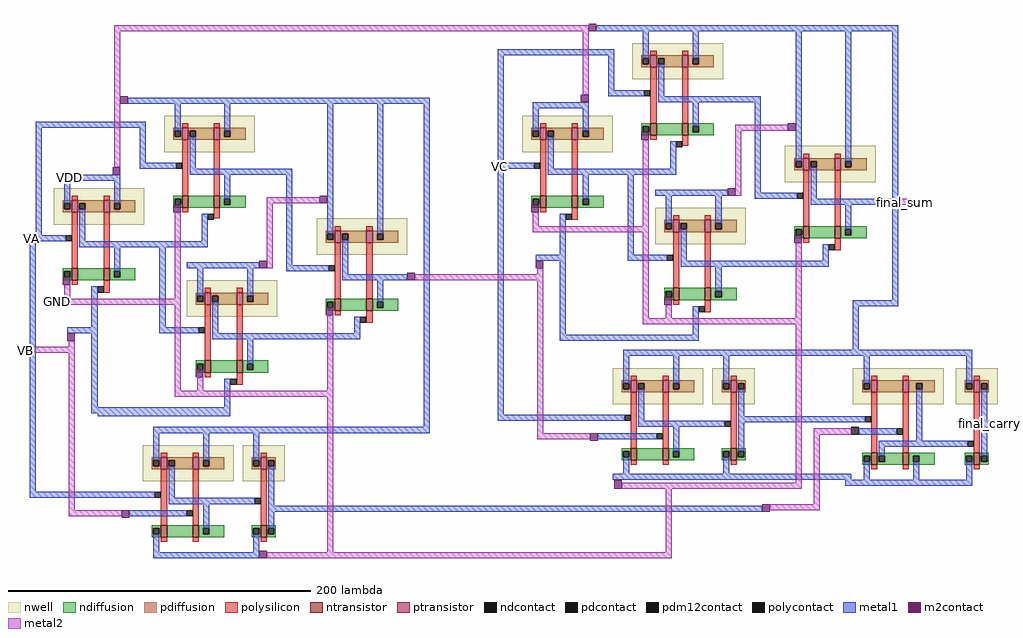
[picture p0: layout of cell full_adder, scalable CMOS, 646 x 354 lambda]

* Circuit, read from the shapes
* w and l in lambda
.subckt full_adder GND VA VB VC VDD final_carry final_sum
M1 n1 VA GND VSUBS nfet w=8 l=4
M2 n2 VB n1 VSUBS nfet w=8 l=4
M3 n3 VA GND VSUBS nfet w=8 l=4
M4 n4 VA GND VSUBS nfet w=8 l=4
M5 n5 VB n3 VSUBS nfet w=8 l=4
M6 n6 n2 GND VSUBS nfet w=8 l=4
M7 n7 n2 n4 VSUBS nfet w=8 l=4
M8 n8 VB n6 VSUBS nfet w=8 l=4
M9 n9 n5 GND VSUBS nfet w=8 l=4
M10 n10 n7 GND VSUBS nfet w=8 l=4
M11 n11 n8 n10 VSUBS nfet w=8 l=4
M12 n12 VC GND VSUBS nfet w=8 l=4
M13 n13 n11 n12 VSUBS nfet w=8 l=4
M14 n14 VC GND VSUBS nfet w=8 l=4
M15 n15 VC GND VSUBS nfet w=8 l=4
M16 n16 n11 n14 VSUBS nfet w=8 l=4
M17 n17 n13 GND VSUBS nfet w=8 l=4
M18 n18 n13 n15 VSUBS nfet w=8 l=4
M19 n19 n11 n17 VSUBS nfet w=8 l=4
M20 n20 n16 GND VSUBS nfet w=8 l=4
M21 n21 n18 GND VSUBS nfet w=8 l=4
M22 final_sum n19 n21 VSUBS nfet w=8 l=4
M23 n22 n20 GND VSUBS nfet w=8 l=4
M24 GND n9 n22 VSUBS nfet w=8 l=4
M25 final_carry n22 GND VSUBS nfet w=8 l=4
M26 n2 VA VDD n23 pfet w=8 l=4
M27 VDD VB n2 n23 pfet w=8 l=4
M28 n5 VA VDD n24 pfet w=8 l=4
M29 n7 VA VDD n25 pfet w=8 l=4
M30 VDD VB n5 n24 pfet w=8 l=4
M31 n8 n2 VDD n26 pfet w=8 l=4
M32 VDD n2 n7 n25 pfet w=8 l=4
M33 VDD VB n8 n26 pfet w=8 l=4
M34 n9 n5 VDD n27 pfet w=8 l=4
M35 n11 n7 VDD n28 pfet w=8 l=4
M36 VDD n8 n11 n28 pfet w=8 l=4
M37 n13 VC VDD n29 pfet w=8 l=4
M38 VDD n11 n13 n29 pfet w=8 l=4
M39 n16 VC VDD n30 pfet w=8 l=4
M40 n18 VC VDD n31 pfet w=8 l=4
M41 VDD n11 n16 n30 pfet w=8 l=4
M42 n19 n13 VDD n32 pfet w=8 l=4
M43 VDD n13 n18 n31 pfet w=8 l=4
M44 VDD n11 n19 n32 pfet w=8 l=4
M45 n20 n16 VDD n33 pfet w=8 l=4
M46 final_sum n18 VDD n34 pfet w=8 l=4
M47 VDD n19 final_sum n34 pfet w=8 l=4
M48 n35 n20 VDD n36 pfet w=8 l=4
M49 n22 n9 n35 n36 pfet w=8 l=4
M50 final_carry n22 VDD n37 pfet w=8 l=4
.ends

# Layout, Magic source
magic
tech scmos
<< nwell >>
rect 381 98 441 122
rect 71 50 131 74
rect 308 50 368 74
rect 482 30 542 54
rect -2 2 58 26
rect 172 -18 232 6
rect 396 -11 456 13
rect 86 -59 146 -35
rect 368 -117 428 -93
rect 434 -117 462 -93
rect 527 -117 587 -93
rect 595 -117 623 -93
rect 57 -168 117 -144
rect 123 -168 151 -144
<< ntransistor >>
rect 393 61 397 69
rect 414 61 418 69
rect 83 13 87 21
rect 104 13 108 21
rect 320 13 324 21
rect 341 13 345 21
rect 10 -35 14 -27
rect 31 -35 35 -27
rect 494 -7 498 1
rect 515 -7 519 1
rect 184 -55 188 -47
rect 205 -55 209 -47
rect 408 -48 412 -40
rect 429 -48 433 -40
rect 98 -96 102 -88
rect 119 -96 123 -88
rect 380 -154 384 -146
rect 401 -154 405 -146
rect 446 -154 450 -146
rect 539 -157 543 -149
rect 560 -157 564 -149
rect 607 -157 611 -149
rect 69 -205 73 -197
rect 90 -205 94 -197
rect 135 -205 139 -197
<< ptransistor >>
rect 393 106 397 114
rect 414 106 418 114
rect 83 58 87 66
rect 104 58 108 66
rect 320 58 324 66
rect 341 58 345 66
rect 494 38 498 46
rect 515 38 519 46
rect 10 10 14 18
rect 31 10 35 18
rect 184 -10 188 -2
rect 205 -10 209 -2
rect 408 -3 412 5
rect 429 -3 433 5
rect 98 -51 102 -43
rect 119 -51 123 -43
rect 380 -109 384 -101
rect 401 -109 405 -101
rect 446 -109 450 -101
rect 539 -109 543 -101
rect 560 -109 564 -101
rect 607 -109 611 -101
rect 69 -160 73 -152
rect 90 -160 94 -152
rect 135 -160 139 -152
<< ndiffusion >>
rect 387 67 393 69
rect 387 63 388 67
rect 392 63 393 67
rect 387 61 393 63
rect 397 61 414 69
rect 418 67 435 69
rect 418 63 421 67
rect 425 63 435 67
rect 418 61 435 63
rect 77 19 83 21
rect 77 15 78 19
rect 82 15 83 19
rect 77 13 83 15
rect 87 13 104 21
rect 108 19 125 21
rect 108 15 111 19
rect 115 15 125 19
rect 108 13 125 15
rect 314 19 320 21
rect 314 15 315 19
rect 319 15 320 19
rect 314 13 320 15
rect 324 13 341 21
rect 345 19 362 21
rect 345 15 348 19
rect 352 15 362 19
rect 345 13 362 15
rect 488 -1 494 1
rect 4 -29 10 -27
rect 4 -33 5 -29
rect 9 -33 10 -29
rect 4 -35 10 -33
rect 14 -35 31 -27
rect 35 -29 52 -27
rect 35 -33 38 -29
rect 42 -33 52 -29
rect 35 -35 52 -33
rect 488 -5 489 -1
rect 493 -5 494 -1
rect 488 -7 494 -5
rect 498 -7 515 1
rect 519 -1 536 1
rect 519 -5 522 -1
rect 526 -5 536 -1
rect 519 -7 536 -5
rect 402 -42 408 -40
rect 402 -46 403 -42
rect 407 -46 408 -42
rect 178 -49 184 -47
rect 178 -53 179 -49
rect 183 -53 184 -49
rect 178 -55 184 -53
rect 188 -55 205 -47
rect 209 -49 226 -47
rect 402 -48 408 -46
rect 412 -48 429 -40
rect 433 -42 450 -40
rect 433 -46 436 -42
rect 440 -46 450 -42
rect 433 -48 450 -46
rect 209 -53 212 -49
rect 216 -53 226 -49
rect 209 -55 226 -53
rect 92 -90 98 -88
rect 92 -94 93 -90
rect 97 -94 98 -90
rect 92 -96 98 -94
rect 102 -96 119 -88
rect 123 -90 140 -88
rect 123 -94 126 -90
rect 130 -94 140 -90
rect 123 -96 140 -94
rect 374 -148 380 -146
rect 374 -152 375 -148
rect 379 -152 380 -148
rect 374 -154 380 -152
rect 384 -154 401 -146
rect 405 -148 422 -146
rect 405 -152 408 -148
rect 412 -152 422 -148
rect 405 -154 422 -152
rect 440 -148 446 -146
rect 440 -152 441 -148
rect 445 -152 446 -148
rect 440 -154 446 -152
rect 450 -148 456 -146
rect 450 -152 451 -148
rect 455 -152 456 -148
rect 450 -154 456 -152
rect 533 -151 539 -149
rect 533 -155 534 -151
rect 538 -155 539 -151
rect 533 -157 539 -155
rect 543 -151 560 -149
rect 543 -155 544 -151
rect 548 -155 560 -151
rect 543 -157 560 -155
rect 564 -151 581 -149
rect 564 -155 567 -151
rect 571 -155 581 -151
rect 564 -157 581 -155
rect 601 -151 607 -149
rect 601 -155 602 -151
rect 606 -155 607 -151
rect 601 -157 607 -155
rect 611 -151 617 -149
rect 611 -155 612 -151
rect 616 -155 617 -151
rect 611 -157 617 -155
rect 63 -199 69 -197
rect 63 -203 64 -199
rect 68 -203 69 -199
rect 63 -205 69 -203
rect 73 -205 90 -197
rect 94 -199 111 -197
rect 94 -203 97 -199
rect 101 -203 111 -199
rect 94 -205 111 -203
rect 129 -199 135 -197
rect 129 -203 130 -199
rect 134 -203 135 -199
rect 129 -205 135 -203
rect 139 -199 145 -197
rect 139 -203 140 -199
rect 144 -203 145 -199
rect 139 -205 145 -203
<< pdiffusion >>
rect 387 112 393 114
rect 387 108 388 112
rect 392 108 393 112
rect 387 106 393 108
rect 397 112 414 114
rect 397 108 398 112
rect 402 108 414 112
rect 397 106 414 108
rect 418 112 435 114
rect 418 108 421 112
rect 425 108 435 112
rect 418 106 435 108
rect 77 64 83 66
rect 77 60 78 64
rect 82 60 83 64
rect 77 58 83 60
rect 87 64 104 66
rect 87 60 88 64
rect 92 60 104 64
rect 87 58 104 60
rect 108 64 125 66
rect 108 60 111 64
rect 115 60 125 64
rect 108 58 125 60
rect 314 64 320 66
rect 314 60 315 64
rect 319 60 320 64
rect 314 58 320 60
rect 324 64 341 66
rect 324 60 325 64
rect 329 60 341 64
rect 324 58 341 60
rect 345 64 362 66
rect 345 60 348 64
rect 352 60 362 64
rect 345 58 362 60
rect 488 44 494 46
rect 488 40 489 44
rect 493 40 494 44
rect 488 38 494 40
rect 498 44 515 46
rect 498 40 499 44
rect 503 40 515 44
rect 498 38 515 40
rect 519 44 536 46
rect 519 40 522 44
rect 526 40 536 44
rect 519 38 536 40
rect 4 16 10 18
rect 4 12 5 16
rect 9 12 10 16
rect 4 10 10 12
rect 14 16 31 18
rect 14 12 15 16
rect 19 12 31 16
rect 14 10 31 12
rect 35 16 52 18
rect 35 12 38 16
rect 42 12 52 16
rect 35 10 52 12
rect 402 3 408 5
rect 402 -1 403 3
rect 407 -1 408 3
rect 178 -4 184 -2
rect 178 -8 179 -4
rect 183 -8 184 -4
rect 178 -10 184 -8
rect 188 -4 205 -2
rect 188 -8 189 -4
rect 193 -8 205 -4
rect 188 -10 205 -8
rect 209 -4 226 -2
rect 402 -3 408 -1
rect 412 3 429 5
rect 412 -1 413 3
rect 417 -1 429 3
rect 412 -3 429 -1
rect 433 3 450 5
rect 433 -1 436 3
rect 440 -1 450 3
rect 433 -3 450 -1
rect 209 -8 212 -4
rect 216 -8 226 -4
rect 209 -10 226 -8
rect 92 -45 98 -43
rect 92 -49 93 -45
rect 97 -49 98 -45
rect 92 -51 98 -49
rect 102 -45 119 -43
rect 102 -49 103 -45
rect 107 -49 119 -45
rect 102 -51 119 -49
rect 123 -45 140 -43
rect 123 -49 126 -45
rect 130 -49 140 -45
rect 123 -51 140 -49
rect 374 -103 380 -101
rect 374 -107 375 -103
rect 379 -107 380 -103
rect 374 -109 380 -107
rect 384 -103 401 -101
rect 384 -107 385 -103
rect 389 -107 401 -103
rect 384 -109 401 -107
rect 405 -103 422 -101
rect 405 -107 408 -103
rect 412 -107 422 -103
rect 405 -109 422 -107
rect 440 -103 446 -101
rect 440 -107 441 -103
rect 445 -107 446 -103
rect 440 -109 446 -107
rect 450 -103 456 -101
rect 450 -107 451 -103
rect 455 -107 456 -103
rect 450 -109 456 -107
rect 533 -103 539 -101
rect 533 -107 534 -103
rect 538 -107 539 -103
rect 533 -109 539 -107
rect 543 -109 560 -101
rect 564 -103 581 -101
rect 564 -107 569 -103
rect 573 -107 581 -103
rect 564 -109 581 -107
rect 601 -103 607 -101
rect 601 -107 602 -103
rect 606 -107 607 -103
rect 601 -109 607 -107
rect 611 -103 617 -101
rect 611 -107 612 -103
rect 616 -107 617 -103
rect 611 -109 617 -107
rect 63 -154 69 -152
rect 63 -158 64 -154
rect 68 -158 69 -154
rect 63 -160 69 -158
rect 73 -154 90 -152
rect 73 -158 74 -154
rect 78 -158 90 -154
rect 73 -160 90 -158
rect 94 -154 111 -152
rect 94 -158 97 -154
rect 101 -158 111 -154
rect 94 -160 111 -158
rect 129 -154 135 -152
rect 129 -158 130 -154
rect 134 -158 135 -154
rect 129 -160 135 -158
rect 139 -154 145 -152
rect 139 -158 140 -154
rect 144 -158 145 -154
rect 139 -160 145 -158
<< ndcontact >>
rect 388 63 392 67
rect 421 63 425 67
rect 78 15 82 19
rect 111 15 115 19
rect 315 15 319 19
rect 348 15 352 19
rect 5 -33 9 -29
rect 38 -33 42 -29
rect 489 -5 493 -1
rect 522 -5 526 -1
rect 403 -46 407 -42
rect 179 -53 183 -49
rect 436 -46 440 -42
rect 212 -53 216 -49
rect 93 -94 97 -90
rect 126 -94 130 -90
rect 375 -152 379 -148
rect 408 -152 412 -148
rect 441 -152 445 -148
rect 451 -152 455 -148
rect 534 -155 538 -151
rect 544 -155 548 -151
rect 567 -155 571 -151
rect 602 -155 606 -151
rect 612 -155 616 -151
rect 64 -203 68 -199
rect 97 -203 101 -199
rect 130 -203 134 -199
rect 140 -203 144 -199
<< pdcontact >>
rect 388 108 392 112
rect 398 108 402 112
rect 421 108 425 112
rect 78 60 82 64
rect 88 60 92 64
rect 111 60 115 64
rect 315 60 319 64
rect 325 60 329 64
rect 348 60 352 64
rect 489 40 493 44
rect 499 40 503 44
rect 522 40 526 44
rect 5 12 9 16
rect 15 12 19 16
rect 38 12 42 16
rect 403 -1 407 3
rect 179 -8 183 -4
rect 189 -8 193 -4
rect 413 -1 417 3
rect 436 -1 440 3
rect 212 -8 216 -4
rect 93 -49 97 -45
rect 103 -49 107 -45
rect 126 -49 130 -45
rect 375 -107 379 -103
rect 385 -107 389 -103
rect 408 -107 412 -103
rect 441 -107 445 -103
rect 451 -107 455 -103
rect 534 -107 538 -103
rect 569 -107 573 -103
rect 602 -107 606 -103
rect 612 -107 616 -103
rect 64 -158 68 -154
rect 74 -158 78 -154
rect 97 -158 101 -154
rect 130 -158 134 -154
rect 140 -158 144 -154
<< polysilicon >>
rect 393 114 397 117
rect 414 114 418 117
rect 393 69 397 106
rect 414 69 418 106
rect 83 66 87 69
rect 104 66 108 69
rect 320 66 324 69
rect 341 66 345 69
rect 393 58 397 61
rect 83 21 87 58
rect 104 21 108 58
rect 320 21 324 58
rect 341 21 345 58
rect 414 54 418 61
rect 494 46 498 49
rect 515 46 519 49
rect 10 18 14 21
rect 31 18 35 21
rect 83 10 87 13
rect 10 -27 14 10
rect 31 -27 35 10
rect 104 6 108 13
rect 320 10 324 13
rect 341 5 345 13
rect 408 5 412 8
rect 429 5 433 8
rect 184 -2 188 1
rect 205 -2 209 1
rect 494 1 498 38
rect 515 1 519 38
rect 10 -38 14 -35
rect 31 -43 35 -35
rect 98 -43 102 -40
rect 119 -43 123 -40
rect 184 -47 188 -10
rect 205 -47 209 -10
rect 408 -40 412 -3
rect 429 -40 433 -3
rect 494 -10 498 -7
rect 515 -15 519 -7
rect 98 -88 102 -51
rect 119 -88 123 -51
rect 408 -51 412 -48
rect 184 -58 188 -55
rect 205 -63 209 -55
rect 429 -56 433 -48
rect 98 -99 102 -96
rect 119 -104 123 -96
rect 380 -101 384 -98
rect 401 -101 405 -98
rect 446 -101 450 -98
rect 539 -101 543 -98
rect 560 -101 564 -98
rect 607 -101 611 -98
rect 380 -146 384 -109
rect 401 -146 405 -109
rect 446 -146 450 -109
rect 69 -152 73 -149
rect 90 -152 94 -149
rect 135 -152 139 -149
rect 539 -149 543 -109
rect 560 -149 564 -109
rect 607 -149 611 -109
rect 380 -157 384 -154
rect 401 -157 405 -154
rect 446 -157 450 -154
rect 539 -160 543 -157
rect 560 -160 564 -157
rect 607 -160 611 -157
rect 69 -197 73 -160
rect 90 -197 94 -160
rect 135 -197 139 -160
rect 69 -208 73 -205
rect 90 -208 94 -205
rect 135 -208 139 -205
<< polycontact >>
rect 389 87 393 91
rect 79 39 83 43
rect 316 39 320 43
rect 410 53 414 57
rect 490 19 494 23
rect 6 -9 10 -5
rect 100 5 104 9
rect 337 5 341 9
rect 180 -29 184 -25
rect 27 -43 31 -39
rect 404 -22 408 -18
rect 511 -15 515 -11
rect 94 -70 98 -66
rect 201 -63 205 -59
rect 425 -56 429 -52
rect 115 -104 119 -100
rect 376 -128 380 -124
rect 397 -140 401 -136
rect 442 -132 446 -128
rect 535 -129 539 -125
rect 556 -137 560 -133
rect 603 -145 607 -141
rect 65 -179 69 -175
rect 86 -191 90 -187
rect 131 -183 135 -179
<< metal1 >>
rect 357 130 557 134
rect 292 114 369 118
rect 47 82 247 86
rect -14 66 59 70
rect -14 -5 -10 66
rect 55 43 59 66
rect 78 64 82 82
rect 111 64 115 82
rect 55 39 79 43
rect 88 39 92 60
rect 88 35 156 39
rect 5 31 42 35
rect 5 16 9 31
rect 38 16 42 31
rect 111 19 115 35
rect -18 -9 6 -5
rect 15 -9 19 12
rect 96 -9 100 9
rect -18 -175 -14 -9
rect 15 -13 100 -9
rect 38 -29 42 -13
rect 23 -66 27 -39
rect 7 -70 27 -66
rect 68 -66 72 -13
rect 86 -27 134 -23
rect 152 -25 156 35
rect 179 -4 183 82
rect 212 -4 216 82
rect 93 -45 97 -27
rect 126 -45 130 -27
rect 152 -29 180 -25
rect 189 -31 193 -8
rect 189 -35 232 -31
rect 212 -49 216 -35
rect 68 -70 94 -66
rect 103 -70 107 -49
rect 197 -70 201 -59
rect 23 -119 27 -70
rect 103 -74 201 -70
rect 126 -90 130 -74
rect 111 -119 115 -100
rect 23 -123 115 -119
rect 27 -125 115 -123
rect 243 -132 247 82
rect 292 43 296 114
rect 365 91 369 114
rect 388 112 392 130
rect 421 112 425 130
rect 365 87 389 91
rect 398 87 402 108
rect 398 83 466 87
rect 315 79 352 83
rect 315 64 319 79
rect 348 64 352 79
rect 421 67 425 83
rect 292 39 316 43
rect 325 39 329 60
rect 406 39 410 57
rect 292 -124 296 39
rect 325 35 410 39
rect 348 19 352 35
rect 333 -18 337 9
rect 317 -22 337 -18
rect 378 -18 382 35
rect 396 21 444 25
rect 462 23 466 83
rect 489 44 493 130
rect 522 44 526 130
rect 403 3 407 21
rect 436 3 440 21
rect 462 19 490 23
rect 499 19 503 40
rect 499 15 542 19
rect 522 -1 526 15
rect 378 -22 404 -18
rect 413 -22 417 -1
rect 507 -22 511 -11
rect 333 -71 337 -22
rect 413 -26 511 -22
rect 436 -42 440 -26
rect 553 -48 557 130
rect 527 -52 557 -48
rect 421 -71 425 -52
rect 333 -75 425 -71
rect 527 -81 531 -52
rect 375 -85 606 -81
rect 375 -103 379 -85
rect 408 -103 412 -85
rect 441 -103 445 -85
rect 534 -103 538 -85
rect 602 -103 606 -85
rect 292 -128 376 -124
rect 385 -128 389 -107
rect 451 -125 455 -107
rect 385 -132 442 -128
rect 451 -129 535 -125
rect 64 -136 247 -132
rect 64 -154 68 -136
rect 97 -154 101 -136
rect 130 -154 134 -136
rect 358 -140 397 -136
rect 408 -148 412 -132
rect 451 -148 455 -129
rect 531 -137 556 -133
rect 569 -141 573 -107
rect 612 -128 616 -107
rect 612 -132 624 -128
rect 544 -145 603 -141
rect 544 -151 548 -145
rect 612 -151 616 -132
rect -18 -179 65 -175
rect 74 -179 78 -158
rect 74 -183 131 -179
rect 48 -191 86 -187
rect 97 -199 101 -183
rect 140 -184 144 -158
rect 375 -163 379 -152
rect 441 -163 445 -152
rect 368 -167 526 -163
rect 534 -167 538 -155
rect 567 -167 571 -155
rect 602 -167 606 -155
rect 522 -171 606 -167
rect 140 -188 467 -184
rect 140 -199 144 -188
rect 64 -215 68 -203
rect 130 -215 134 -203
rect 64 -219 134 -215
<< m2contact >>
rect 352 130 357 135
rect 42 82 47 87
rect 37 35 42 40
rect 77 10 82 15
rect 4 -38 9 -33
rect 134 -27 139 -22
rect 174 16 179 21
rect 232 -35 237 -30
rect 178 -58 183 -53
rect 7 -75 12 -70
rect 92 -99 97 -94
rect 347 83 352 88
rect 387 58 392 63
rect 314 10 319 15
rect 444 21 449 26
rect 484 64 489 69
rect 542 15 547 20
rect 488 -10 493 -5
rect 317 -27 322 -22
rect 402 -51 407 -46
rect 353 -141 358 -136
rect 43 -192 48 -187
rect 369 -173 374 -167
rect 467 -188 472 -183
rect 134 -219 139 -214
<< pdm12contact >>
rect 526 -137 531 -132
<< metal2 >>
rect 38 130 352 134
rect 38 40 42 130
rect 348 88 352 130
rect 449 64 484 68
rect 139 16 174 20
rect 5 -47 9 -38
rect 78 -47 82 10
rect 139 -27 143 16
rect 315 1 319 10
rect 388 1 392 58
rect 449 21 453 64
rect 547 15 563 19
rect 315 -3 392 1
rect 318 -31 322 -27
rect 237 -35 322 -31
rect -2 -51 82 -47
rect 8 -79 12 -75
rect -22 -83 12 -79
rect 8 -187 12 -83
rect 78 -108 82 -51
rect 93 -108 97 -99
rect 179 -108 183 -58
rect 78 -112 183 -108
rect 8 -191 43 -187
rect 179 -215 183 -112
rect 318 -136 322 -35
rect 388 -60 392 -3
rect 403 -60 407 -51
rect 489 -60 493 -10
rect 388 -64 493 -60
rect 318 -140 353 -136
rect 489 -169 493 -64
rect 374 -173 493 -169
rect 501 -137 526 -133
rect 403 -215 407 -173
rect 501 -183 505 -137
rect 472 -187 505 -183
rect 139 -219 407 -215
<< labels >>
rlabel metal1 292 40 294 41 1 VC
rlabel metal2 -1 -50 2 -48 1 GND
rlabel metal1 6 32 11 34 1 VDD
rlabel metal1 -18 -8 -16 -7 3 VA
rlabel metal2 -22 -82 -20 -81 3 VB
rlabel metal2 561 16 563 17 7 final_sum
rlabel metal1 616 -131 619 -129 1 final_carry
<< end >>
